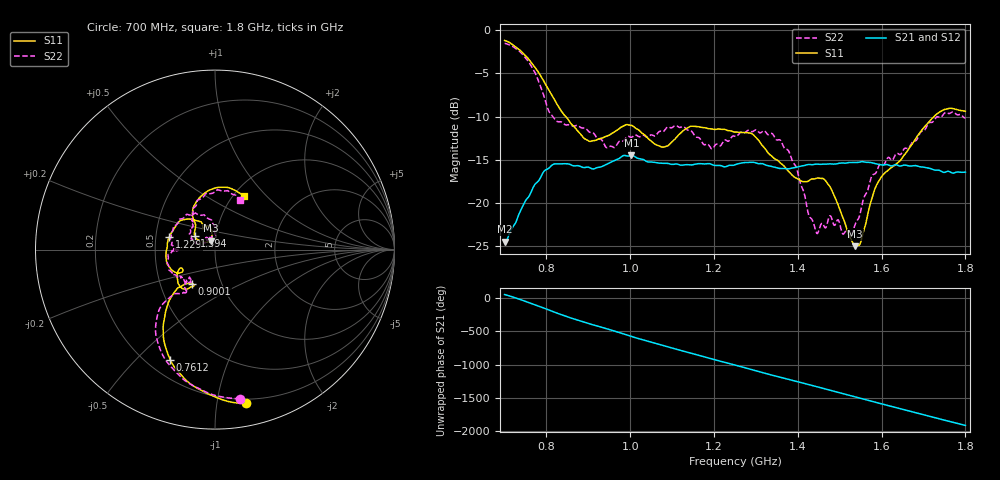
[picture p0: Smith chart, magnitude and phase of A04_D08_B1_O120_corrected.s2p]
! Created with skrf 1.9.0 (http://scikit-rf.org).
# Hz S RI R 50.0
!freq ReS11 ImS11 ReS21 ImS21 ReS12 ImS12 ReS22 ImS22
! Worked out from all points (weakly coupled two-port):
!   1601 points, 700 MHz to 1.8 GHz, reference 50 ohm
!   highest |S21| = -14.50 dB at 1.002 GHz (marker M1); lowest = -24.5 dB at 700 MHz (marker M2)
!   lowest |S11| = -25.0 dB at 1.537 GHz (marker M3), VSWR 1.12, Z = 47.4 + j4.78 ohm
!   |S11| at or under -10 dB: 846 MHz to 1.725 GHz (879.1 MHz wide, 68.4 % of centre)
!   |S22| runs from -24.0 to -1.5 dB; largest |S21 - S12| = 0.0037
!   S11 on the Smith chart (normalised r, x): 700 MHz: 0.17, -1.21; 761.2 MHz: 0.29, -0.63; 900.1 MHz: 0.73, -0.29; 1.229 GHz: 0.59, +0.09; 1.594 GHz: 0.79, +0.12; 1.8 GHz: 1.12, +0.75
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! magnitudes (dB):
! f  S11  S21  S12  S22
! 700 MHz  -1.2  -24.5  -24.3  -1.5
! 761.2 MHz  -3.6  -19.0  -18.9  -3.9
! 818.2 MHz  -8.0  -15.5  -15.6  -10.2
! 883.6 MHz  -12.2  -15.8  -15.7  -11.3
! 900.1 MHz  -12.8  -15.9  -15.9  -11.7
! 945.4 MHz  -12.2  -15.5  -15.5  -13.6
! 1.002 GHz  -11.0  -14.5  -14.6  -12.4
! 1.067 GHz  -13.4  -15.4  -15.3  -11.8
! 1.144 GHz  -11.1  -15.6  -15.6  -11.6
! 1.229 GHz  -11.6  -15.8  -15.7  -12.8
! 1.25 GHz  -11.8  -15.6  -15.5  -12.3
! 1.359 GHz  -15.4  -16.0  -16.0  -12.8
! 1.396 GHz  -17.1  -15.9  -15.9  -15.8
! 1.434 GHz  -17.2  -15.6  -15.6  -21.9
! 1.447 GHz  -17.1  -15.5  -15.5  -23.6
! 1.475 GHz  -18.0  -15.5  -15.5  -21.6
! 1.524 GHz  -24.0  -15.3  -15.3  -24.0
! 1.537 GHz  -25.0  -15.3  -15.3  -22.5
! 1.594 GHz  -17.4  -15.6  -15.5  -15.6
! 1.617 GHz  -16.2  -15.6  -15.6  -14.7
! 1.734 GHz  -9.6  -16.2  -16.3  -10.0
! 1.8 GHz  -9.4  -16.4  -16.4  -10.2
